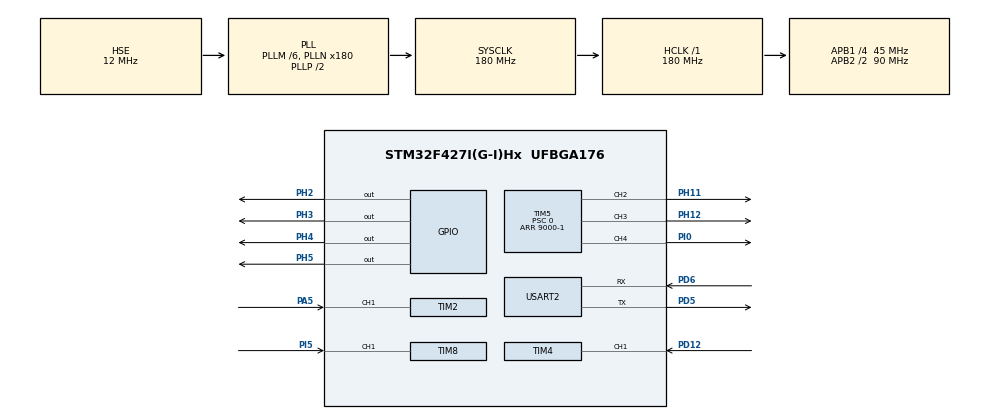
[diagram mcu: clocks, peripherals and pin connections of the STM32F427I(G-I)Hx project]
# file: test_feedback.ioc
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Dma.Request0=USART2_RX
Dma.Request1=USART2_TX
Dma.USART2_RX.0.Direction=DMA_PERIPH_TO_MEMORY
Dma.USART2_RX.0.FIFOMode=DMA_FIFOMODE_DISABLE
Dma.USART2_RX.0.Instance=DMA1_Stream5
Dma.USART2_RX.0.MemDataAlignment=DMA_MDATAALIGN_BYTE
Dma.USART2_RX.0.MemInc=DMA_MINC_ENABLE
Dma.USART2_RX.0.Mode=DMA_NORMAL
Dma.USART2_RX.0.PeriphDataAlignment=DMA_PDATAALIGN_BYTE
Dma.USART2_RX.0.PeriphInc=DMA_PINC_DISABLE
Dma.USART2_RX.0.Priority=DMA_PRIORITY_LOW
Dma.USART2_TX.1.Direction=DMA_MEMORY_TO_PERIPH
Dma.USART2_TX.1.FIFOMode=DMA_FIFOMODE_DISABLE
Dma.USART2_TX.1.Instance=DMA1_Stream6
Dma.USART2_TX.1.MemDataAlignment=DMA_MDATAALIGN_BYTE
Dma.USART2_TX.1.MemInc=DMA_MINC_ENABLE
Dma.USART2_TX.1.Mode=DMA_NORMAL
Dma.USART2_TX.1.PeriphDataAlignment=DMA_PDATAALIGN_BYTE
Dma.USART2_TX.1.PeriphInc=DMA_PINC_DISABLE
Dma.USART2_TX.1.Priority=DMA_PRIORITY_LOW
Mcu.Family=STM32F4
Mcu.Name=STM32F427I(G-I)Hx
Mcu.Package=UFBGA176
NVIC.DMA1_Stream5_IRQn=true\:0\:0\:false\:false\:true\:false\:true\:true
NVIC.DMA1_Stream6_IRQn=true\:0\:0\:false\:false\:true\:false\:true\:true
NVIC.PriorityGroup=NVIC_PRIORITYGROUP_4
NVIC.TIM2_IRQn=true\:0\:0\:false\:false\:true\:true\:true\:true
NVIC.TIM4_IRQn=true\:0\:0\:false\:false\:true\:true\:true\:true
NVIC.TIM8_BRK_TIM12_IRQn=true\:0\:0\:false\:false\:true\:true\:true\:true
NVIC.TIM8_CC_IRQn=true\:0\:0\:false\:false\:true\:true\:true\:true
NVIC.TIM8_TRG_COM_TIM14_IRQn=true\:0\:0\:false\:false\:true\:true\:true\:true
NVIC.TIM8_UP_TIM13_IRQn=true\:0\:0\:false\:false\:true\:true\:true\:true
NVIC.USART2_IRQn=true\:0\:0\:false\:false\:true\:true\:true\:true
PA13.Mode=Serial_Wire
PA13.Signal=SYS_JTMS-SWDIO
PA14.Mode=Serial_Wire
PA14.Signal=SYS_JTCK-SWCLK
PA5.Signal=S_TIM2_CH1_ETR
PB0.Signal=S_TIM3_CH3
PB1.Signal=S_TIM3_CH4
PD12.Signal=S_TIM4_CH1
PD5.Mode=Asynchronous
PD5.Signal=USART2_TX
PD6.Mode=Asynchronous
PD6.Signal=USART2_RX
PH0/OSC_IN.Mode=HSE-External-Oscillator
PH0/OSC_IN.Signal=RCC_OSC_IN
PH1/OSC_OUT.Mode=HSE-External-Oscillator
PH1/OSC_OUT.Signal=RCC_OSC_OUT
PH11.Signal=S_TIM5_CH2
PH12.Signal=S_TIM5_CH3
PH2.GPIO_PuPd=GPIO_PULLDOWN
PH2.Signal=GPIO_Output
PH3.GPIO_PuPd=GPIO_PULLDOWN
PH3.Signal=GPIO_Output
PH4.GPIO_PuPd=GPIO_PULLDOWN
PH4.Signal=GPIO_Output
PH5.GPIO_PuPd=GPIO_PULLDOWN
PH5.Signal=GPIO_Output
PI0.Signal=S_TIM5_CH4
PI5.Signal=S_TIM8_CH1
ProjectManager.HeapSize=0x200
ProjectManager.StackSize=0x400
ProjectManager.TargetToolchain=MDK-ARM V5.32
RCC.48MHZClocksFreq_Value=90000000
RCC.AHBFreq_Value=180000000
RCC.APB1CLKDivider=RCC_HCLK_DIV4
RCC.APB1Freq_Value=45000000
RCC.APB1TimFreq_Value=90000000
RCC.APB2CLKDivider=RCC_HCLK_DIV2
RCC.APB2Freq_Value=90000000
RCC.APB2TimFreq_Value=180000000
RCC.CortexFreq_Value=180000000
RCC.HCLKFreq_Value=180000000
RCC.HSE_VALUE=12000000
RCC.HSI_VALUE=16000000
RCC.LSE_VALUE=32768
RCC.PLLM=6
RCC.PLLN=180
RCC.PLLSourceVirtual=RCC_PLLSOURCE_HSE
RCC.SYSCLKFreq_VALUE=180000000
RCC.SYSCLKSource=RCC_SYSCLKSOURCE_PLLCLK
RCC.VCOOutputFreq_Value=360000000
SH.S_TIM2_CH1_ETR.0=TIM2_CH1,TriggerSource_TI1FP1
SH.S_TIM2_CH1_ETR.1=TIM2_CH1,Input_Capture1_from_TI1
SH.S_TIM3_CH3.0=TIM3_CH3
SH.S_TIM3_CH4.0=TIM3_CH4
SH.S_TIM4_CH1.0=TIM4_CH1,TriggerSource_TI1FP1
SH.S_TIM4_CH1.1=TIM4_CH1,Input_Capture1_from_TI1
SH.S_TIM5_CH2.0=TIM5_CH2,PWM Generation2 CH2
SH.S_TIM5_CH3.0=TIM5_CH3,PWM Generation3 CH3
SH.S_TIM5_CH4.0=TIM5_CH4,PWM Generation4 CH4
SH.S_TIM8_CH1.0=TIM8_CH1,TriggerSource_TI1FP1
SH.S_TIM8_CH1.1=TIM8_CH1,Input_Capture1_from_TI1
TIM2.Channel-Input_Capture1_from_TI1=TIM_CHANNEL_1
TIM2.Period=65535
TIM2.Prescaler=90-1
TIM4.Channel-Input_Capture1_from_TI1=TIM_CHANNEL_1
TIM4.Prescaler=90-1
TIM5.Channel-PWM\ Generation2\ CH2=TIM_CHANNEL_2
TIM5.Channel-PWM\ Generation3\ CH3=TIM_CHANNEL_3
TIM5.Channel-PWM\ Generation4\ CH4=TIM_CHANNEL_4
TIM5.Period=9000-1
TIM5.Prescaler=0
TIM8.Channel-Input_Capture1_from_TI1=TIM_CHANNEL_1
TIM8.Prescaler=180-1
USART2.VirtualMode=VM_ASYNC
VP_TIM2_VS_ClockSourceINT.Mode=Internal
VP_TIM2_VS_ControllerModeReset.Mode=Reset Mode
VP_TIM4_VS_ControllerModeReset.Mode=Reset Mode
VP_TIM5_VS_ClockSourceINT.Mode=Internal
VP_TIM8_VS_ClockSourceINT.Mode=Internal
VP_TIM8_VS_ControllerModeReset.Mode=Reset Mode
board=custom

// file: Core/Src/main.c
/* USER CODE BEGIN Header */
/**
 ******************************************************************************
 * @file           : main.c
 * @brief          : Main program body
 ******************************************************************************
 * @attention
 *
 * Copyright (c) 2023 STMicroelectronics.
 * All rights reserved.
 *
 * This software is licensed under terms that can be found in the LICENSE file
 * in the root directory of this software component.
 * If no LICENSE file comes with this software, it is provided AS-IS.
 *
 ******************************************************************************
 */
/* USER CODE END Header */
#include "main.h"
#include "dma.h"
#include "tim.h"
#include "usart.h"
#include "gpio.h"

/* USER CODE BEGIN Includes */

#include "dvc_serialplot.h"

#include "pid.h"
/* USER CODE END Includes */

/* USER CODE BEGIN PV */

Class_Serialplot serialplot;

float Tx_1, Tx_2, Tx_3, Tx_4;
float output_pid[3];
uint32_t freq1,freq2,freq3;
extern TIM_HandleTypeDef htim2;
extern TIM_HandleTypeDef htim4;
extern TIM_HandleTypeDef htim5;
extern TIM_HandleTypeDef htim8;

extern PID_typedef 			Motor_pid[14];

/* USER CODE END PV */

void SystemClock_Config(void);

int main(void)
{

  /* MCU Configuration--------------------------------------------------------*/

  /* Reset of all peripherals, Initializes the Flash interface and the Systick. */
  HAL_Init();

  /* Configure the system clock */
  SystemClock_Config();

  /* Initialize all configured peripherals */
  MX_GPIO_Init();
  MX_DMA_Init();
  MX_USART2_UART_Init();
  MX_TIM2_Init();
  MX_TIM5_Init();
  MX_TIM4_Init();
  MX_TIM8_Init();
  /* USER CODE BEGIN 2 */
   PID_total_init(); // PID参数初始化

  // 初始化并启动PWM输出（用于电机控制）
  HAL_TIM_PWM_Init(&htim5);
  Uart_Init(&huart2, NULL, 0, NULL);
  HAL_TIM_PWM_Start(&htim5, TIM_CHANNEL_4);
  HAL_TIM_PWM_Start(&htim5, TIM_CHANNEL_2);
  HAL_TIM_PWM_Start(&htim5, TIM_CHANNEL_3);

  // 启动输入捕获中断（用于测速）
  HAL_TIM_IC_Start_IT(&htim2, TIM_CHANNEL_1); // 电机1测速
  HAL_TIM_IC_Start_IT(&htim4, TIM_CHANNEL_1); // 电机2测速
  HAL_TIM_IC_Start_IT(&htim8, TIM_CHANNEL_1); // 电机3测速

  // 串口初始化，用于数据上报
  serialplot.Init(&huart2, 3, NULL);
    __HAL_TIM_SET_COMPARE(&htim5, TIM_CHANNEL_2, 840);
    __HAL_TIM_SET_COMPARE(&htim5, TIM_CHANNEL_3, 840);
    __HAL_TIM_SET_COMPARE(&htim5, TIM_CHANNEL_4, 840);
    HAL_Delay(6000); // 等待1秒，确保系统稳定
  /* USER CODE END 2 */

  /* Infinite loop */
  /* USER CODE BEGIN WHILE */
  while (1)
  {
    //计算三个电机的转速（单位：RPM）
    //freqX为输入捕获得到的频率，48为编码器每转脉冲数，*60为每分钟
    Tx_1 = freq1 / 48 * 60;
    Tx_2 = freq2 / 48 * 60;
    Tx_3 = freq3 / 48 * 60;
    // if (Tx_1 > 800) Tx_1 = 800; // 限制电机1转速
    // if (Tx_2 > 600) Tx_2 = 600; // 限制电机2转速
    // if (Tx_3 > 600) Tx_3 = 600; // 限制电机3转速

    // PID闭环调速，目标转速为1200RPM
    output_pid[0] = PID_calc(&Motor_pid[0], Tx_1, 1200);
    output_pid[1] = PID_calc(&Motor_pid[1], Tx_2, 1200);
    output_pid[2] = PID_calc(&Motor_pid[2], Tx_3, 1200);

    // 限幅，防止PWM输出超出范围
    if (output_pid[0] < 0) output_pid[0] = 0;
    if (output_pid[0] > __HAL_TIM_GET_AUTORELOAD(&htim5)) output_pid[0] = __HAL_TIM_GET_AUTORELOAD(&htim5);
    if (output_pid[1] < 0) output_pid[1] = 0;
    if (output_pid[1] > __HAL_TIM_GET_AUTORELOAD(&htim5)) output_pid[1] = __HAL_TIM_GET_AUTORELOAD(&htim5);
    if (output_pid[2] < 0) output_pid[2] = 0;
    if (output_pid[2] > __HAL_TIM_GET_AUTORELOAD(&htim5)) output_pid[2] = __HAL_TIM_GET_AUTORELOAD(&htim5);

    // 设置PWM占空比，实现对电机的速度控制
    __HAL_TIM_SET_COMPARE(&htim5, TIM_CHANNEL_2, Motor_pid[0].OUT);
    __HAL_TIM_SET_COMPARE(&htim5, TIM_CHANNEL_3, Motor_pid[1].OUT);
    __HAL_TIM_SET_COMPARE(&htim5, TIM_CHANNEL_4, Motor_pid[2].OUT);

    //发送数据到上位机，便于调试和监控
        serialplot.Set_Data(6, &Tx_1, &output_pid[0], &Tx_2, &output_pid[1],&Tx_3, &output_pid[3]);
        serialplot.TIM_Add_PeriodElapsedCallback();
        TIM_UART_PeriodElapsedCallback();

    // 延时10ms，控制主循环频率
    HAL_Delay(10);

    /* USER CODE END WHILE */

  }
}

void SystemClock_Config(void)
{
  RCC_OscInitTypeDef RCC_OscInitStruct = {0};
  RCC_ClkInitTypeDef RCC_ClkInitStruct = {0};

  /** Configure the main internal regulator output voltage
  */
  __HAL_RCC_PWR_CLK_ENABLE();
  __HAL_PWR_VOLTAGESCALING_CONFIG(PWR_REGULATOR_VOLTAGE_SCALE1);

  /** Initializes the RCC Oscillators according to the specified parameters
  * in the RCC_OscInitTypeDef structure.
  */
  RCC_OscInitStruct.OscillatorType = RCC_OSCILLATORTYPE_HSE;
  RCC_OscInitStruct.HSEState = RCC_HSE_ON;
  RCC_OscInitStruct.PLL.PLLState = RCC_PLL_ON;
  RCC_OscInitStruct.PLL.PLLSource = RCC_PLLSOURCE_HSE;
  RCC_OscInitStruct.PLL.PLLM = 6;
  RCC_OscInitStruct.PLL.PLLN = 180;
  RCC_OscInitStruct.PLL.PLLP = RCC_PLLP_DIV2;
  RCC_OscInitStruct.PLL.PLLQ = 4;
  if (HAL_RCC_OscConfig(&RCC_OscInitStruct) != HAL_OK)
  {
    Error_Handler();
  }

  /** Activate the Over-Drive mode
  */
  if (HAL_PWREx_EnableOverDrive() != HAL_OK)
  {
    Error_Handler();
  }

  /** Initializes the CPU, AHB and APB buses clocks
  */
  RCC_ClkInitStruct.ClockType = RCC_CLOCKTYPE_HCLK|RCC_CLOCKTYPE_SYSCLK
                              |RCC_CLOCKTYPE_PCLK1|RCC_CLOCKTYPE_PCLK2;
  RCC_ClkInitStruct.SYSCLKSource = RCC_SYSCLKSOURCE_PLLCLK;
  RCC_ClkInitStruct.AHBCLKDivider = RCC_SYSCLK_DIV1;
  RCC_ClkInitStruct.APB1CLKDivider = RCC_HCLK_DIV4;
  RCC_ClkInitStruct.APB2CLKDivider = RCC_HCLK_DIV2;

  if (HAL_RCC_ClockConfig(&RCC_ClkInitStruct, FLASH_LATENCY_5) != HAL_OK)
  {
    Error_Handler();
  }
}

/* USER CODE BEGIN 4 */
/**
  * @brief 定时器输入捕获中断回调函数
  * @param htim: 定时器句柄
  * @note  用于捕获电调（ESC）M口输出信号周期，计算电机转速。TIM2、TIM4、TIM8的CH1分别对应电机1、2、3的测速。
  */
uint32_t current_capture = 0; // 当前捕获值
void HAL_TIM_IC_CaptureCallback(TIM_HandleTypeDef *htim)
{
    if (htim->Instance == TIM2) // TIM2用于电机1测速（M口->TIM2_CH1）
    {
        if (htim->Channel == HAL_TIM_ACTIVE_CHANNEL_1)
        {
               uint32_t before_capture=current_capture;
                // 读取当前捕获值
               uint32_t current_capture=HAL_TIM_ReadCapturedValue(htim,TIM_CHANNEL_1)+1;
                if (current_capture < before_capture) {
                    current_capture += 65535; // 处理溢出
                }
           freq1=1000000/(current_capture-before_capture); // 1MHz定时器时基
        }
    }
    else if (htim->Instance == TIM4) // TIM4用于电机2测速（M口->TIM4_CH1）
    {
        if (htim->Channel == HAL_TIM_ACTIVE_CHANNEL_1)
        {

            uint32_t before_capture=current_capture;
              uint32_t current_capture=HAL_TIM_ReadCapturedValue(htim,TIM_CHANNEL_1)+1;
                if (current_capture < before_capture) {
                    current_capture += 65535; // 处理溢出
                }
           freq2=1000000/(current_capture-before_capture); // 1MHz定时器时基
        }
    }
    else if (htim->Instance == TIM8) // TIM8用于电机3测速（M口->TIM8_CH1）
      {
        if (htim->Channel == HAL_TIM_ACTIVE_CHANNEL_1)
              {
                  uint32_t before_capture=current_capture;
                    uint32_t current_capture=HAL_TIM_ReadCapturedValue(htim,TIM_CHANNEL_1)+1;
                      if (current_capture < before_capture) {
                          current_capture += 65535; // 处理溢出
                      }
                  freq3=1000000/(current_capture-before_capture); // 1MHz定时器时基
              }
      }
}
/* USER CODE END 4 */

void Error_Handler(void)
{
    __disable_irq();
    while (1)
    {
    }
}
